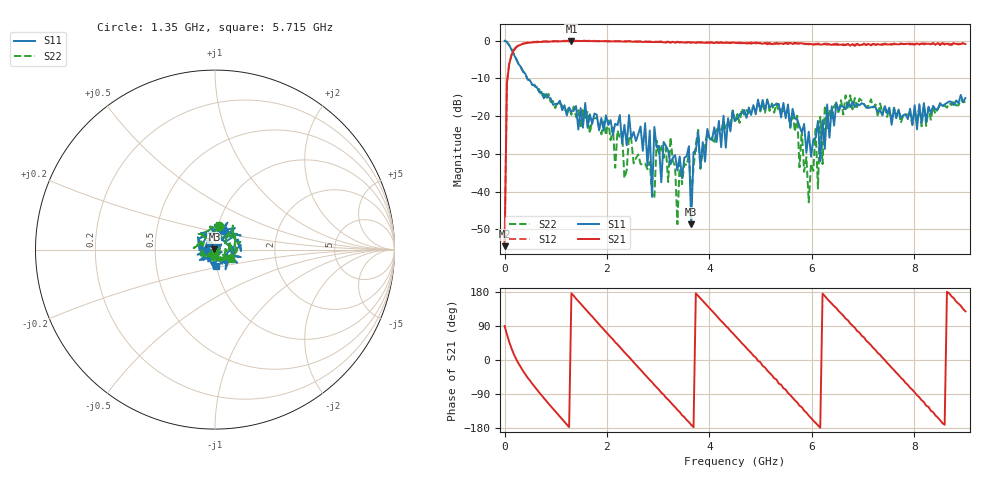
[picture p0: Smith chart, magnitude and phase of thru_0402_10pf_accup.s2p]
!Agilent Technologies,E8358A,US40210021,A.06.04.30
!Agilent E8358A: A.06.04.30
!Date: Sunday, April 15, 2018 12:15:41
!Correction: S11(Full 2 Port(1,2)) S21(Full 2 Port(1,2)) S12(Full 2 Port(1,2)) S22(Full 2 Port(1,2))
!S2P File: Measurements: S11, S21, S12, S22:
# Hz S  RI  R 50
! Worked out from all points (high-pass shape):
!   201 points, 300 kHz to 9 GHz, reference 50 ohm
!   highest |S21| = -0.07 dB at 1.305 GHz (marker M1); lowest = -54.5 dB at 300 kHz (marker M2)
!   |S21| within 3 dB of the highest: 162.2 MHz to end of sweep
!   lowest |S11| = -48.7 dB at 3.645 GHz (marker M3), VSWR 1.01, Z = 49.7 + j0.145 ohm
!   |S11| at or under -10 dB: 441.4 MHz to end of sweep
!   |S22| runs from -48.6 to 0.1 dB; largest |S21 - S12| = 0.066
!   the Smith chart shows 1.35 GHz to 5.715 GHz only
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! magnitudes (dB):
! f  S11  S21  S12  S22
! 300 kHz  0.0  -54.5  -54.2  0.1
! 45.3 MHz  -0.4  -11.3  -11.2  -0.3
! 135.3 MHz  -2.3  -3.8  -3.8  -2.3
! 1.305 GHz  -18.8  -0.1  0.0  -19.6
! 1.53 GHz  -23.1  -0.1  0.0  -17.9
! 2.745 GHz  -21.9  -0.3  -0.2  -32.6
! 2.88 GHz  -41.4  -0.3  -0.2  -40.5
! 2.925 GHz  -22.9  -0.4  -0.2  -41.8
! 3.015 GHz  -27.9  -0.3  -0.3  -30.3
! 3.24 GHz  -32.8  -0.5  -0.4  -25.6
! 3.375 GHz  -34.4  -0.3  -0.3  -48.6
! 3.42 GHz  -30.7  -0.5  -0.4  -32.4
! 3.6 GHz  -28.0  -0.4  -0.4  -30.0
! 3.645 GHz  -48.7  -0.5  -0.4  -41.3
! 3.78 GHz  -24.1  -0.4  -0.4  -23.6
! 4.5 GHz  -21.2  -0.5  -0.5  -21.7
! 5.625 GHz  -18.1  -0.9  -0.5  -18.7
! 6.03 GHz  -26.2  -1.1  -0.9  -34.5
! 6.21 GHz  -21.0  -1.0  -0.8  -32.7
! 6.255 GHz  -28.7  -0.9  -0.8  -17.2
! 7.515 GHz  -17.7  -1.0  -0.7  -18.1
! 9 GHz  -15.2  -0.9  -0.8  -16.2
